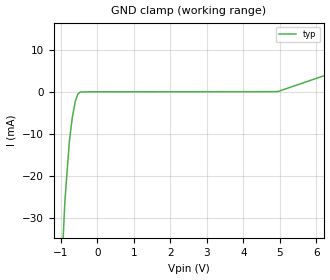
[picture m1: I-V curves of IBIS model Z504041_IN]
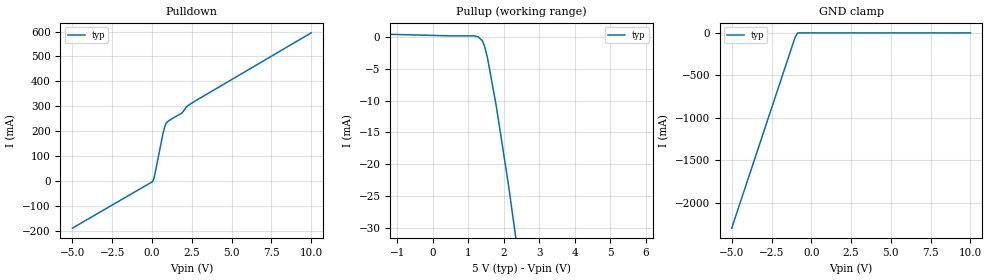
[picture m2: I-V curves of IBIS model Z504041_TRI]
| YOU ARE ONLY AUTHORIZED TO USE THIS SOFTWARE
| ACCORDING TO LICENSOR'S LICENSE RESTRICTIONS.
[IBIS Ver] 3.1
[File Name] mc74f827n.ibs
[File Rev] 2.0
[Source] Measured and created by ICX Technology
[Date] Friday 7/14/00 9:08:05 AM
[Copyright]
| (C) COPYRIGHT 1993-2000
| MENTOR GRAPHICS CORPORATION
| ICX STANDARD LIBRARY, ICX PROJECT MODELING,
| ICX CUSTOM MODELING, ICX VENDOR MODEL
| ALL RIGHTS RESERVED.
| THE FOLLOWING ARE TRADEMARKS OR SERVICE MARKS OF
| MENTOR GRAPHICS CORPORATION:ICX (R), ICX STANDARD
| LIBRARY(R), ICX PROJECT MODELING(R), ICX CUSTOM
| MODELING(R), qualityIBIS(TM), MODELVIEWER(TM),
| AND MODELEDITOR(TM)
| ALL COPIES OF SOFTWARE, INCLUDING BUT NOT LIMITED TO
| ANY MODIFICATIONS, ENHANCEMENTS OR DERIVATIVE WORKS,
| MUST CONTAIN ALL MENTOR GRAPHICS CORPORATION'S
| NOTICES AND LEGENDS, INCLUDING THOSE EMBEDDED IN
| SOFTWARE AND THOSE AFFIXED TO SOFTWARE MEDIUM
| AND CONTAINER, AS RECEIVED FROM MENTOR GRAPHICS
| CORPORATION.
|  ZAP Model Builder 2.7
[Component] MC74F827N
[Manufacturer] OnSemiconductor
[Package]
| variable   typ   min   max
R_pkg  .22ohms NA NA
L_pkg  6.927nH NA NA
C_pkg  1.437pF NA NA
[Pin] signal_name  model_name  R_pin  L_pin C_pin
1 _G1 Z504041_IN .24 12.76n 2.162p
2 A0 Z504041_IN .232 9.76n 1.872p
3 A1 Z504041_IN .224 7.26n 1.582p
4 A2 Z504041_IN .216 5.26n 1.292p
5 A3 Z504041_IN .208 3.76n 1.002p
6 A4 Z504041_IN .2 2.76n .712p
7 A5 Z504041_IN .2 2.76n .712p
8 A6 Z504041_IN .208 3.76n 1.002p
9 A7 Z504041_IN .216 5.26n 1.292p
10 A8 Z504041_IN .224 7.26n 1.582p
11 A9 Z504041_IN .232 9.76n 1.872p
12 GROUND GND .24 12.76n 2.162p
13 _G2 Z504041_IN .24 12.76n 2.162p
14 Y9 Z504041_TRI .232 9.76n 1.872p
15 Y8 Z504041_TRI .224 7.26n 1.582p
16 Y7 Z504041_TRI .216 5.26n 1.292p
17 Y6 Z504041_TRI .208 3.76n 1.002p
18 Y5 Z504041_TRI .2 2.76n .712p
19 Y4 Z504041_TRI .2 2.76n .712p
20 Y3 Z504041_TRI .208 3.76n 1.002p
21 Y2 Z504041_TRI .216 5.26n 1.292p
22 Y1 Z504041_TRI .224 7.26n 1.582p
23 Y0 Z504041_TRI .232 9.76n 1.872p
24 VCC POWER .24 12.76n 2.162p
| Models and submodels in the file (2): Z504041_IN (Input), Z504041_TRI (3-state)
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| (C) COPYRIGHT 1993-2000
| MENTOR GRAPHICS CORPORATION
| ICX STANDARD LIBRARY, ICX PROJECT MODELING,
| ICX CUSTOM MODELING, ICX VENDOR MODEL
| ALL RIGHTS RESERVED.
| THE FOLLOWING ARE TRADEMARKS OR SERVICE MARKS OF
| MENTOR GRAPHICS CORPORATION:ICX (R), ICX STANDARD
| LIBRARY(R), ICX PROJECT MODELING(R), ICX CUSTOM
| MODELING(R), qualityIBIS(TM), MODELVIEWER(TM),
| AND MODELEDITOR(TM)
| ALL COPIES OF SOFTWARE, INCLUDING BUT NOT LIMITED TO
| ANY MODIFICATIONS, ENHANCEMENTS OR DERIVATIVE WORKS,
| MUST CONTAIN ALL MENTOR GRAPHICS CORPORATION'S
| NOTICES AND LEGENDS, INCLUDING THOSE EMBEDDED IN
| SOFTWARE AND THOSE AFFIXED TO SOFTWARE MEDIUM
| AND CONTAINER, AS RECEIVED FROM MENTOR GRAPHICS
| CORPORATION.
| Model Application Version 1.89 2/18/99.
[Model] Z504041_IN
Model_type Input
Vinl = 800.0mV
Vinh = 2.000V
C_comp 4.000pF NA NA
| variable typ   min   max
[Voltage Range] 5.000V NA NA
[GND Clamp Reference] 0.000V NA NA
[POWER Clamp Reference] 5.000V NA NA
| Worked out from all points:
|   GND clamp passes 1 mA (typ) near -0.55 V on its own axis
[GND Clamp]
-5V       -788.6mA   NA         NA
-887.3mV  -25.89mA   NA         NA
-766.4mV  -11.86mA   NA         NA
-686.7mV  -6.177mA   NA         NA
-605mV    -2.328mA   NA         NA
-542.1mV  -730.9uA   NA         NA
-484.1mV  -148.5uA   NA         NA
4.954V    95.66uA    NA         NA
10V       15.18mA    NA         NA
[POWER Clamp]
-5V       0A         NA         NA
10V       0A         NA         NA
| (C) COPYRIGHT 1993-2000
| MENTOR GRAPHICS CORPORATION
| ICX STANDARD LIBRARY, ICX PROJECT MODELING,
| ICX CUSTOM MODELING, ICX VENDOR MODEL
| ALL RIGHTS RESERVED.
| THE FOLLOWING ARE TRADEMARKS OR SERVICE MARKS OF
| MENTOR GRAPHICS CORPORATION:ICX (R), ICX STANDARD
| LIBRARY(R), ICX PROJECT MODELING(R), ICX CUSTOM
| MODELING(R), qualityIBIS(TM), MODELVIEWER(TM),
| AND MODELEDITOR(TM)
| ALL COPIES OF SOFTWARE, INCLUDING BUT NOT LIMITED TO
| ANY MODIFICATIONS, ENHANCEMENTS OR DERIVATIVE WORKS,
| MUST CONTAIN ALL MENTOR GRAPHICS CORPORATION'S
| NOTICES AND LEGENDS, INCLUDING THOSE EMBEDDED IN
| SOFTWARE AND THOSE AFFIXED TO SOFTWARE MEDIUM
| AND CONTAINER, AS RECEIVED FROM MENTOR GRAPHICS
| CORPORATION.
| Model Application Version 1.89 2/18/99.
[Model] Z504041_TRI
Model_type 3-state
Vref=0.000V
Rref=500.0ohms
Cref=50.00pF
Vmeas=1.500V
C_comp 8.000pF NA NA
| variable typ   min   max
[Voltage Range] 5.000V NA NA
[POWER Clamp Reference] 5.000V NA NA
[Pullup Reference] 5.000V NA NA
[Pulldown Reference] 0.000V NA NA
[GND Clamp Reference] 0.000V NA NA
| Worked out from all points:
|   slope of the pulldown table from 0 to 0.75 V, typ, clamps not added: 3.6 ohm
|   slope of the pullup table from 0 to 0.75 V, typ, clamps not added: 10.4 kohm
|   GND clamp passes 1 mA (typ) near -0.86 V on its own axis
[GND Clamp]
-5V       -2.299A    NA         NA
-1.035V   -61.2mA    NA         NA
-924.2mV  -19.95mA   NA         NA
-858.2mV  0A         NA         NA
10V       0A         NA         NA
[Pulldown]
-5V       -189.3mA   NA         NA
32.81mV   -2.597mA   NA         NA
121.9mV   10.31mA    NA         NA
195.3mV   30.93mA    NA         NA
683.6mV   187.6mA    NA         NA
793.6mV   215.7mA    NA         NA
876mV     229.8mA    NA         NA
971.2mV   237.8mA    NA         NA
1.867V    272.4mA    NA         NA
2.178V    297.9mA    NA         NA
2.56V     315.3mA    NA         NA
10V       594.6mA    NA         NA
[Pullup]
-5V       940.8uA    NA         NA
504.5mV   155.8uA    NA         NA
1.165V    155.8uA    NA         NA
1.28V     7.727uA    NA         NA
1.402V    -623.3uA   NA         NA
1.46V     -1.472mA   NA         NA
1.542V    -3.228mA   NA         NA
1.791V    -10.84mA   NA         NA
2.138V    -23.33mA   NA         NA
10V       -339.7mA   NA         NA
[POWER Clamp]
-5V       0A         NA         NA
10V       0A         NA         NA
[Ramp]
| variable typ min max
dV/dt_r 1.972/2.315n NA NA
dV/dt_f 1.972/2.120n NA NA
R_load = 500.0Ohms
